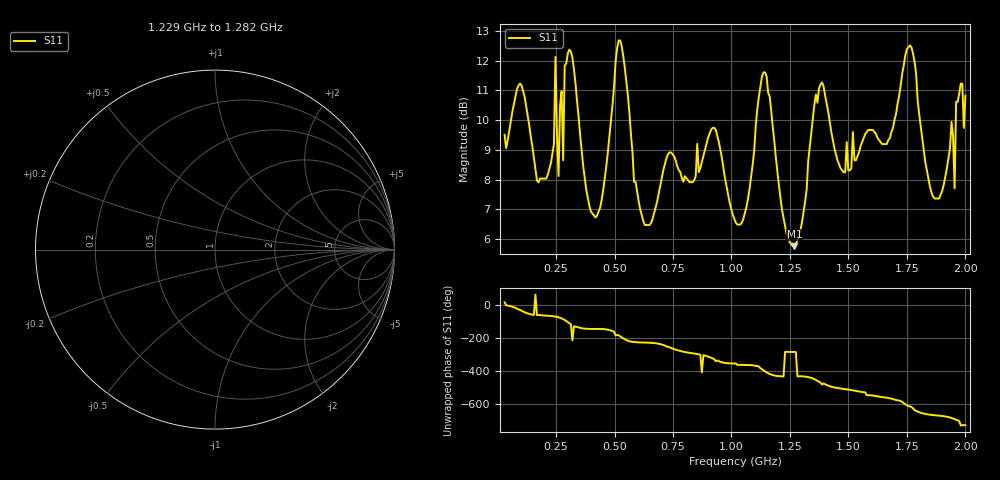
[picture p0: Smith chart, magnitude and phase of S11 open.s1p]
# Hz S DB R 50.000000
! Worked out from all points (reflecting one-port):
!   300 points, 30 MHz to 2 GHz, reference 50 ohm
!   lowest |S11| = 5.8 dB at 1.269 GHz (marker M1)
!   phase of S11 starts at 15 deg and turns -747 deg over the sweep
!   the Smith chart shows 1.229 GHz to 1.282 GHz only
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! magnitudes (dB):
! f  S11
! 30 MHz  9.5
! 95.89 MHz  11.2
! 207.9 MHz  8.0
! 240.8 MHz  9.2
! 247.4 MHz  12.1
! 260.6 MHz  8.1
! 273.8 MHz  11.0
! 280.4 MHz  8.7
! 287 MHz  11.8
! 313.3 MHz  12.3
! 425.3 MHz  6.8
! 524.1 MHz  12.7
! 629.6 MHz  6.5
! 774.5 MHz  8.3
! 926.1 MHz  9.7
! 1.018 GHz  6.6
! 1.143 GHz  11.6
! 1.262 GHz  5.8
! 1.269 GHz  5.8
! 1.381 GHz  11.2
! 1.512 GHz  8.4
! 1.677 GHz  9.4
! 1.756 GHz  12.4
! 1.868 GHz  7.4
! 1.941 GHz  9.9
! 1.954 GHz  7.7
! 1.96 GHz  10.6
! 2 GHz  10.8
